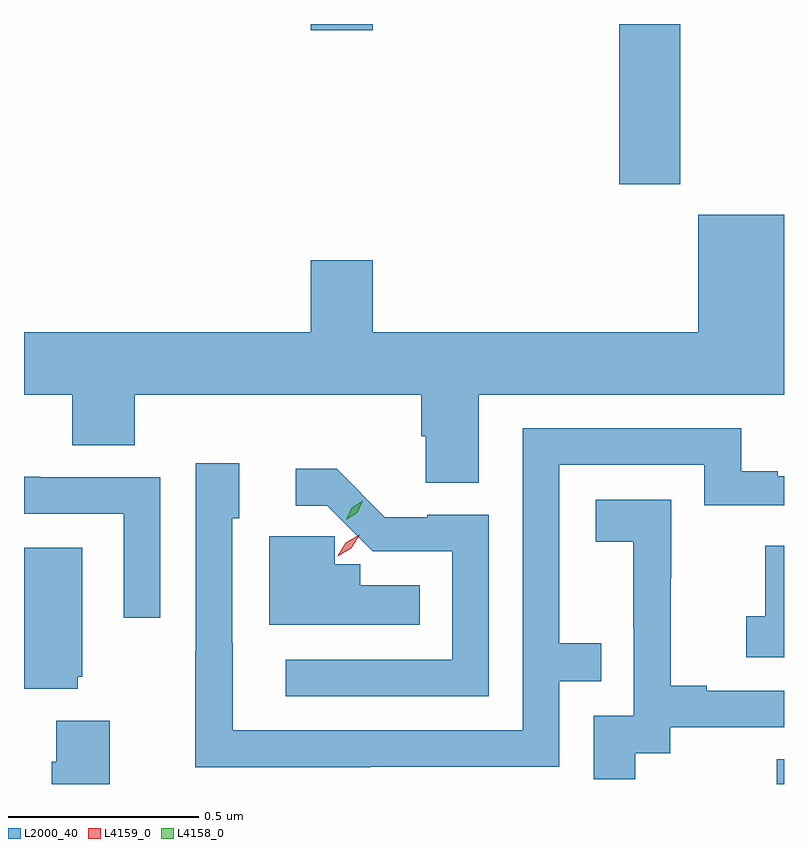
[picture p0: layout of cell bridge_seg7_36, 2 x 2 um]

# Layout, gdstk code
import gdstk
lib = gdstk.Library(unit=1e-6, precision=1e-09)
def R(c, l, rs):  # rectangles x0, y0, x1, y1
    for r in rs: c.add(gdstk.rectangle(r[:2], r[2:], *l))
def P(c, l, *ps):  # polygons
    for p in ps: c.add(gdstk.Polygon(p, *l))
L2000_40 = (2000, 40)
L4158_0 = (4158, 0)
L4159_0 = (4159, 0)

bridge_seg7_36 = lib.new_cell('bridge_seg7_36')
R(bridge_seg7_36, L2000_40, [(921.479,1039.551,921.498,1039.616), (921.065,1041.129,921.225,1041.551), (920.252,1041.534,920.416,1041.551)])
P(bridge_seg7_36, L2000_40, [(920.695,1040.576),(921.498,1040.576),(921.498,1041.049),(921.272,1041.049),(921.272,1040.74),(920.416,1040.74),(920.416,1040.929),(920.252,1040.929),(920.252,1040.74),(919.498,1040.74),(919.498,1040.576),(919.625,1040.576),(919.625,1040.443),(919.79,1040.443),(919.79,1040.576),(920.543,1040.576),(920.543,1040.466),(920.555,1040.466),(920.555,1040.344),(920.695,1040.344)],
  [(920.411,1039.596),(920.907,1039.596),(920.907,1039.821),(921.017,1039.821),(921.017,1039.922),(920.907,1039.922),(920.907,1040.391),(921.288,1040.391),(921.288,1040.284),(921.498,1040.284),(921.498,1040.361),(921.481,1040.361),(921.481,1040.374),(921.385,1040.374),(921.385,1040.487),(920.811,1040.487),(920.811,1039.692),(920.047,1039.692),(920.047,1039.922),(920.046,1039.922),(920.046,1040.25),(920.065,1040.25),(920.065,1040.395),(919.95,1040.395),(919.95,1039.901),(919.948,1039.901),(919.948,1039.595),(920.411,1039.595)],
  [(920.721,1040.259),(920.559,1040.259),(920.559,1040.253),(920.447,1040.253),(920.321,1040.38),(920.213,1040.38),(920.213,1040.283),(920.296,1040.283),(920.416,1040.163),(920.625,1040.163),(920.625,1039.878),(920.187,1039.878),(920.187,1039.782),(920.721,1039.782)],
  [(919.857,1040.358),(919.541,1040.358),(919.541,1040.36),(919.498,1040.36),(919.498,1040.262),(919.761,1040.262),(919.761,1039.989),(919.857,1039.989)],
  [(921.106,1039.632),(921.198,1039.632),(921.198,1039.701),(921.498,1039.701),(921.498,1039.797),(921.295,1039.797),(921.295,1039.81),(921.2,1039.81),(921.2,1040.093),(921.201,1040.093),(921.201,1040.299),(921.003,1040.299),(921.003,1040.189),(921.101,1040.189),(921.101,1039.961),(921.102,1039.961),(921.102,1039.731),(920.997,1039.731),(920.997,1039.563),(921.106,1039.563)],
  [(920.54,1040.074),(920.383,1040.074),(920.383,1040.129),(920.316,1040.129),(920.316,1040.203),(920.144,1040.203),(920.144,1039.97),(920.54,1039.97)],
  [(921.498,1040.178),(921.448,1040.178),(921.448,1039.993),(921.399,1039.993),(921.399,1039.884),(921.498,1039.884)],
  [(919.64,1039.833),(919.651,1039.833),(919.651,1040.173),(919.498,1040.173),(919.498,1039.802),(919.64,1039.802)],
  [(919.723,1039.717),(919.583,1039.717),(919.583,1039.61),(919.571,1039.61),(919.571,1039.551),(919.723,1039.551)])
P(bridge_seg7_36, L4158_0, [(920.346,1040.247),(920.346,1040.247),(920.36,1040.278),(920.389,1040.297),(920.389,1040.297),(920.389,1040.296),(920.375,1040.265),(920.346,1040.247)])
P(bridge_seg7_36, L4159_0, [(920.324,1040.151),(920.324,1040.152),(920.345,1040.186),(920.38,1040.207),(920.381,1040.207),(920.381,1040.207),(920.359,1040.172),(920.324,1040.151)])

lib.write_gds('bridge_seg7_36.gds')
